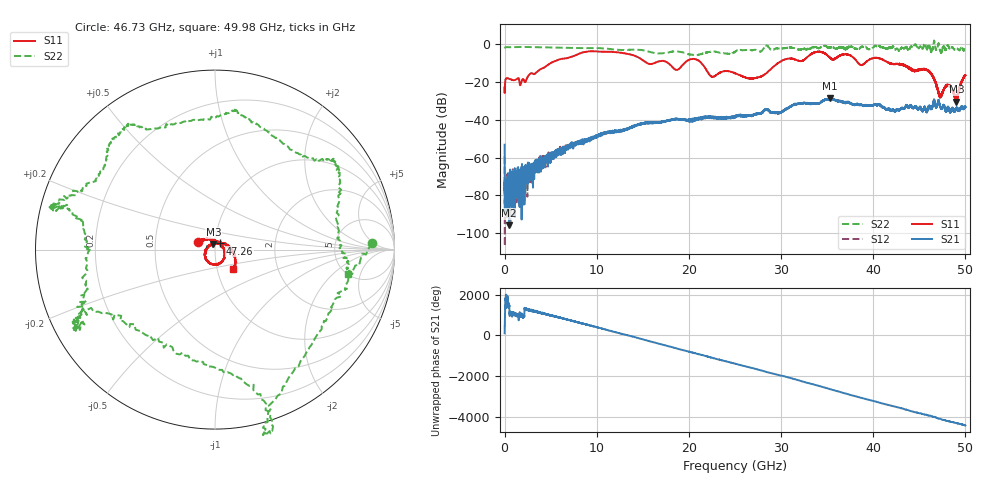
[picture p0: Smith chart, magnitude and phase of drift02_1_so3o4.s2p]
!Created with skrf (http://scikit-rf.org).
# Hz S RI R 50.0
!freq ReS11 ImS11 ReS21 ImS21 ReS12 ImS12 ReS22 ImS22
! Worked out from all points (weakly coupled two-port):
!   10001 points, 300 kHz to 50 GHz, reference 50 ohm
!   highest |S21| = -28.66 dB at 35.34 GHz (marker M1); lowest = -96.0 dB at 490.3 MHz (marker M2)
!   lowest |S11| = -30.3 dB at 49.02 GHz (marker M3), VSWR 1.06, Z = 49.1 + j2.88 ohm
!   |S11| at or under -10 dB: start of sweep to 4.958 GHz; 21.38 GHz to 29.63 GHz (8.255 GHz wide, 32.4 % of centre); 41.87 GHz to end of sweep (the widest 3 of 10)
!   |S22| runs from -5.7 to 2.1 dB; largest |S21 - S12| = 0.0031
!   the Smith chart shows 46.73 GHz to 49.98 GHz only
!   S11 on the Smith chart (normalised r, x): 46.73 GHz: 0.83, +0.07; 47.26 GHz: 1.05, +0.07; 49.98 GHz: 1.20, -0.26
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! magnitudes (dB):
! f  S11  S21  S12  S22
! 300 kHz  -22.8  -53.2  -59.4  -2.1
! 255.3 MHz  -17.9  -80.5  -78.4  -1.4
! 490.3 MHz  -18.2  -96.0  -79.7  -1.5
! 1.875 GHz  -19.1  -69.1  -81.3  -1.3
! 3.885 GHz  -13.2  -62.1  -59.2  -1.5
! 8.335 GHz  -4.5  -50.9  -51.7  -1.9
! 16.67 GHz  -9.1  -41.4  -41.5  -4.8
! 18.69 GHz  -13.5  -39.6  -39.6  -3.8
! 20.59 GHz  -7.7  -39.9  -40.1  -5.6
! 22.49 GHz  -17.1  -38.9  -38.5  -3.8
! 25 GHz  -15.3  -38.3  -38.0  -3.9
! 27.44 GHz  -17.6  -36.6  -36.9  -3.1
! 33.34 GHz  -4.9  -31.5  -31.4  -1.5
! 35.34 GHz  -7.2  -28.7  -28.9  -1.4
! 41.67 GHz  -9.7  -34.3  -34.1  -1.8
! 45.76 GHz  -13.3  -35.8  -35.6  -1.7
! 46.73 GHz  -19.7  -32.3  -32.3  -1.2
! 47.26 GHz  -27.2  -32.9  -32.8  -3.5
! 48.14 GHz  -21.5  -33.2  -33.7  -0.9
! 49.02 GHz  -30.3  -34.1  -34.2  -2.4
! 49.98 GHz  -16.7  -33.2  -32.4  -2.5
! 50 GHz  -16.4  -33.2  -33.2  -2.7
